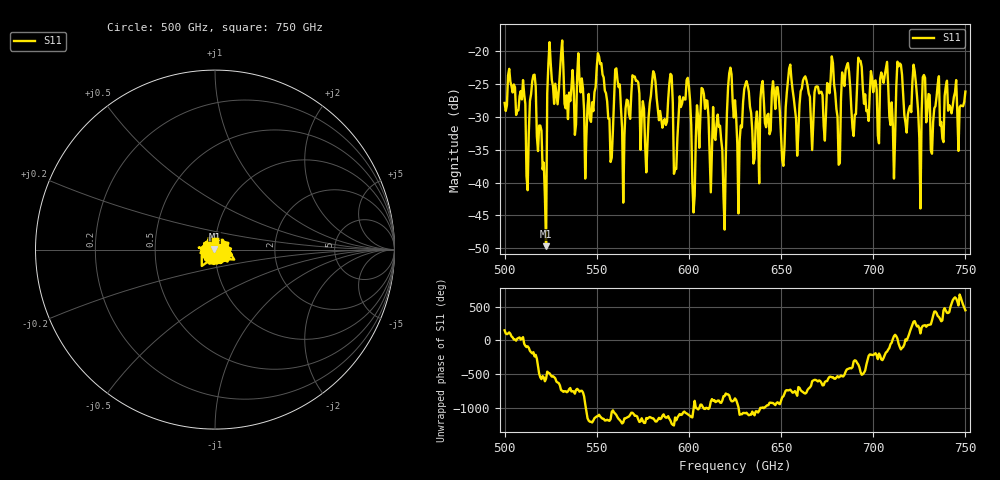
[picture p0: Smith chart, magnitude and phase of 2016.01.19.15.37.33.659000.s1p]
!Created with skrf (http://scikit-rf.org).
# GHz S RI R 50.0
!freq ReS11 ImS11
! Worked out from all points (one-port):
!   401 points, 500 GHz to 750 GHz, reference 50 ohm
!   lowest |S11| = -49.7 dB at 522.5 GHz (marker M1), VSWR 1.01, Z = 49.7 + j0.154 ohm
!   |S11| at or under -10 dB: start of sweep to end of sweep
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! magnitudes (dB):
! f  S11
! 500 GHz  -27.9
! 512.5 GHz  -41.2
! 515.6 GHz  -23.7
! 522.5 GHz  -49.7
! 524.4 GHz  -18.6
! 531.2 GHz  -18.4
! 545 GHz  -28.3
! 551.2 GHz  -20.8
! 557.5 GHz  -36.9
! 562.5 GHz  -25.1
! 576.9 GHz  -38.5
! 590 GHz  -23.5
! 593.8 GHz  -33.2
! 599.4 GHz  -24.1
! 602.5 GHz  -44.6
! 608.1 GHz  -26.5
! 618.8 GHz  -42.1
! 621.9 GHz  -23.4
! 625 GHz  -27.5
! 646.9 GHz  -28.8
! 650.6 GHz  -36.6
! 656.2 GHz  -25.9
! 687.5 GHz  -25.4
! 706.2 GHz  -23.6
! 710.6 GHz  -31.1
! 714.4 GHz  -21.9
! 718.8 GHz  -29.7
! 750 GHz  -26.2
